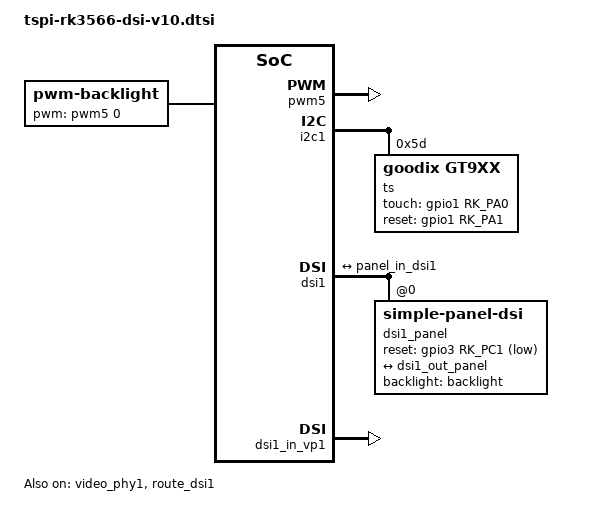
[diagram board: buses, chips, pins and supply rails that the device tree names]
/*********************************************************************
 *           立创开发板不靠卖板赚钱，以培养中国工程师为己任  
 *         泰山派软硬件资料与相关扩展板软硬件资料官网全部开源
 *                      开发板官网：www.lckfb.com            
 *                     立创论坛：oshwhub.com/forum           
 *            关注B站：【立创开发板】，掌握我们的最新动态！  
 *********************************************************************
 * 文件名：tspi-rk3566-dsi-v10.dtsi
 * 描述：mipi 屏幕
 * 更新:
 * 时间          作者           联系           说明
 * 2023-07-21   吴才成    1378913492@qq.com   v1.0.0
 * 2024-01-18   风漠兮    578118086@qq.com    Fit STL6.0-1-2-A
 * 2024-02-25   Shin404   1183024117@qq.com   Fix time sequence & color
 *********************************************************************/
/ {
	backlight: backlight {
		compatible = "pwm-backlight";
		pwms = <&pwm5 0 25000 0>;
		brightness-levels = <
			  0 20 20 20 20 20 20 20
			  21 21 21 21 21 21 21 21
			  22 22 22 22 22 22 22 22
			  23 23 23 23 23 23 23 23
			  24 24 24 24 24 24 24 24
			  25 25 25 25 25 25 25 25
			  26 26 26 26 26 26 26 26
			  27 27 27 27 27 27 27 27
			  28 28 28 28 28 28 28 28
			  29 29 29 29 29 29 29 29
			  30 30 30 30 30 30 30 30
			  31 31 31 31 31 31 31 31
			  32 32 32 32 32 32 32 32
			  33 33 33 33 33 33 33 33
			  34 34 34 34 34 34 34 34
			  35 35 35 35 35 35 35 35
			  36 36 36 36 36 36 36 36
			  37 37 37 37 37 37 37 37
			  38 38 38 38 38 38 38 38
			  39 39 39 39 39 39 39 39
			  40 40 40 40 40 40 40 40
			  41 41 41 41 41 41 41 41
			  42 42 42 42 42 42 42 42
			  43 43 43 43 43 43 43 43
			  44 44 44 44 44 44 44 44
			  45 45 45 45 45 45 45 45
			  46 46 46 46 46 46 46 46
			  47 47 47 47 47 47 47 47
			  48 48 48 48 48 48 48 48
			  49 49 49 49 49 49 49 49
			  50 50 50 50 50 50 50 50
			  51 51 51 51 51 51 51 51
			  256
		>;
		default-brightness-level = <192>;
	};
};

&pwm5 {
	status = "okay";
};

&i2c1 {
	status = "okay";
	ts@5d {
		pinctrl-0 = <&touch_gpio>;
		compatible = "goodix,gt9xx";
		reg = <0x5d>;
		tp-size = <911>;
		max-x = <720>;
		max-y = <1280>;
		touch-gpio = <&gpio1 RK_PA0 IRQ_TYPE_LEVEL_LOW>;
		reset-gpio = <&gpio1 RK_PA1 GPIO_ACTIVE_HIGH>;
	};
};

&pinctrl {
	dsi1 {
		dsi1_rst_gpio: dsi1-rst-gpio {
			rockchip,pins = <3 RK_PC1 RK_FUNC_GPIO &pcfg_pull_none>;
		};
		touch_gpio: touch-gpio {
			rockchip,pins = <1 RK_PA0 RK_FUNC_GPIO &pcfg_pull_up>;
		};
	};
};

/*
 * video_phy1 needs to be enabled
 * when dsi1 is enabled
 */
&dsi1 {
	status = "okay";
};

&dsi1_in_vp0 {
	status = "disabled";
};

&dsi1_in_vp1 {
	status = "okay";
};

&video_phy1 {
	status = "okay";
};

&route_dsi1 {
	status = "okay";//wucaicheng mipi okay
	connect = <&vp1_out_dsi1>;
};

// STL6.0-1-2-A
&dsi1 {
	status = "okay";
	rockchip,lane-rate = <580>; //(720+8+8+16)*(1280+8+8+16)*60*3*8/3,+100mhz
	dsi1_panel: panel@0 {
		status = "okay";
		compatible = "simple-panel-dsi";
		reset-gpios = <&gpio3 RK_PC1 GPIO_ACTIVE_LOW>;
		pinctrl-names = "default";
		pinctrl-0 = <&dsi1_rst_gpio>;
		reg = <0>;
		backlight = <&backlight>;
		reset-delay-ms = <200>;
		enable-delay-ms = <100>;
		prepare-delay-ms = <20>;
		unprepare-delay-ms = <20>;
		disable-delay-ms = <20>;
		init-delay-ms = <120>;
		dsi,flags = <(MIPI_DSI_MODE_VIDEO | MIPI_DSI_MODE_VIDEO_BURST |
			MIPI_DSI_MODE_LPM | MIPI_DSI_MODE_EOT_PACKET)>;
		dsi,format = <MIPI_DSI_FMT_RGB888>;
		dsi,lanes  = <3>;
		width-mm = <74>;
		height-mm = <132>;
		panel-init-sequence = [
			// init code
			// Set EXTC
			39 00 04 B9 FF 83 94
			// Set MIPI
			39 00 03 BA 72 83
			// Set Power HX5186 Mode
			39 00 10 B1 6C 15 15 24 E4 11 F1 80 E4 97 23 80 C0 D2 58
			// Set Display
			39 00 0C B2 00 64 10 07 22 1C 08 08 1C 4D 00
			// Set CYC
			39 00 0D B4 00 FF 03 5A 03 5A 03 5A 01 6A 30 6A
			// Set VDC
			15 00 02 BC 07
			// Set Power ption HX5186 Mode
			39 00 04 BF 41 0E 01
			// Set D3
			39 00 1F D3 00 06 00 40 07 08 00 32 10 07 00 07 54 15 0F 05 04 02 12 10 05 07 33 33 0B 0B 37 10 07 07
			// Set GIP,Forward
			39 00 2D D5 04 05 06 07 00 01 02 03 20 21 22 23 18 18 18 18 18 18 18 18 19 19 18 18 18 18 1B 1B 1A 1A 18 18 18 18 18 18 18 18 18 18 18 18 18 18
			// Set D6,Backward
			39 00 2D D6 03 02 01 00 07 06 05 04 23 22 21 20 18 18 18 18 18 18 58 58 18 18 19 19 18 18 1B 1B 1A 1A 18 18 18 18 18 18 18 18 18 18 18 18 18 18
			// Set Panel
			15 00 02 CC 09 // 08: invert RGB
			// Set VCOM
			39 00 03 B6 51 51
			// Set Gamma
			39 00 2B E0 00 10 16 2D 33 3F 23 3E 07 0B 0D 17 0E 12 14 12 13 06 11 13 18 00 0F 16 2E 33 3F 23 3D 07 0B 0D 18 0F 12 14 12 14 07 11 12 17
			// Set C0
			39 00 03 C0 30 14
			// Set TCON ption
			39 00 05 C7 00 C0 40 C0
			// Set SAP_L ption
			15 00 02 DF 87
			// Set SETOFFSET
			15 00 02 D2 66 
			// 
			15 78 02 11 00
			15 28 02 29 00
		];

		panel-exit-sequence = [
			//05 00 01 28
			//05 00 01 10
		];

		disp_timings1: display-timings {
			native-mode = <&dsi1_timing0>;
			dsi1_timing0: timing0 {
				clock-frequency = <59197440>;// (720+8+8+16)*(1280+8+8+16)*60

				hactive = <720>;
				hfront-porch = <8>;
				hback-porch = <8>;
				hsync-len = <16>;

				vactive = <1280>;
				vfront-porch = <8>;
				vback-porch = <8>;
				vsync-len = <16>;

				hsync-active = <0>;
				vsync-active = <0>;
				de-active = <0>;
				pixelclk-active = <0>;

				swap-rb = <0>;
				swap-rg = <0>;
				swap-gb = <0>;
			};
		};

		ports {
			#address-cells = <1>;
			#size-cells = <0>;

			port@0 {
				reg = <0>;
				panel_in_dsi1: endpoint {
					remote-endpoint = <&dsi1_out_panel>;
				};
			};
		};
	};

	ports {
		#address-cells = <1>;
		#size-cells = <0>;

		port@1 {
			reg = <1>;
			dsi1_out_panel: endpoint {
				remote-endpoint = <&panel_in_dsi1>;
			};
		};
	};

};

// &dsi1 {
// 	status = "okay";
// 	rockchip,lane-rate = <1000>;
// 	dsi1_panel: panel@0 {
// 		status = "okay";
// 		compatible = "simple-panel-dsi";
// 		reset-gpios = <&gpio3 RK_PC1 GPIO_ACTIVE_LOW>;
// 		pinctrl-names = "default";
// 		pinctrl-0 = <&dsi1_rst_gpio>;
// 		reg = <0>;
// 		backlight = <&backlight>;
// 		reset-delay-ms = <100>;
// 		enable-delay-ms = <120>;
// 		prepare-delay-ms = <20>;
// 		unprepare-delay-ms = <20>;
// 		disable-delay-ms = <100>;
// 		dsi,flags = <(MIPI_DSI_MODE_VIDEO | MIPI_DSI_MODE_VIDEO_BURST |
// 			MIPI_DSI_MODE_LPM | MIPI_DSI_MODE_EOT_PACKET)>;
// 		dsi,format = <MIPI_DSI_FMT_RGB888>;
// 		dsi,lanes  = <4>;
// 		panel-init-sequence = [
// 			15 00 02 B0 01
// 			15 00 02 C3 4F
// 			15 00 02 C4 40
// 			15 00 02 C5 40
// 			15 00 02 C6 40
// 			15 00 02 C7 40
// 			15 00 02 C8 4D
// 			15 00 02 C9 52
// 			15 00 02 CA 51
// 			15 00 02 CD 5D
// 			15 00 02 CE 5B
// 			15 00 02 CF 4B
// 			15 00 02 D0 49
// 			15 00 02 D1 47
// 			15 00 02 D2 45
// 			15 00 02 D3 41
// 			15 00 02 D7 50
// 			15 00 02 D8 40
// 			15 00 02 D9 40
// 			15 00 02 DA 40
// 			15 00 02 DB 40
// 			15 00 02 DC 4E
// 			15 00 02 DD 52
// 			15 00 02 DE 51
// 			15 00 02 E1 5E
// 			15 00 02 E2 5C
// 			15 00 02 E3 4C
// 			15 00 02 E4 4A
// 			15 00 02 E5 48
// 			15 00 02 E6 46
// 			15 00 02 E7 42
// 			15 00 02 B0 03
// 			15 00 02 BE 03
// 			15 00 02 CC 44
// 			15 00 02 C8 07
// 			15 00 02 C9 05
// 			15 00 02 CA 42
// 			15 00 02 CD 3E
// 			15 00 02 CF 60
// 			15 00 02 D2 04
// 			15 00 02 D3 04
// 			15 00 02 D4 01
// 			15 00 02 D5 00
// 			15 00 02 D6 03
// 			15 00 02 D7 04
// 			15 00 02 D9 01
// 			15 00 02 DB 01
// 			15 00 02 E4 F0
// 			15 00 02 E5 0A
// 			15 00 02 B0 00
// 			15 00 02 B1 08
// 			15 00 02 BD 54
// 			15 00 02 C2 06
// 			15 00 02 C4 0B
// 			15 00 02 B0 02
// 			15 00 02 C0 00
// 			15 00 02 C1 0A
// 			15 00 02 C2 20
// 			15 00 02 C3 24
// 			15 00 02 C4 23
// 			15 00 02 C5 29
// 			15 00 02 C6 23
// 			15 00 02 C7 1C
// 			15 00 02 C8 19
// 			15 00 02 C9 17
// 			15 00 02 CA 17
// 			15 00 02 CB 18
// 			15 00 02 CC 1A
// 			15 00 02 CD 1E
// 			15 00 02 CE 20
// 			15 00 02 CF 23
// 			15 00 02 D0 07
// 			15 00 02 D1 00
// 			15 00 02 D2 00
// 			15 00 02 D3 0A
// 			15 00 02 D4 13
// 			15 00 02 D5 1C
// 			15 00 02 D6 1A
// 			15 00 02 D7 13
// 			15 00 02 D8 17
// 			15 00 02 D9 1C
// 			15 00 02 DA 19
// 			15 00 02 DB 17
// 			15 00 02 DC 17
// 			15 00 02 DD 18
// 			15 00 02 DE 1A
// 			15 00 02 DF 1E
// 			15 00 02 E0 20
// 			15 00 02 E1 23
// 			15 00 02 E2 07
// 			05 78 01 11
// 			05 14 01 29
// 		];

// 		panel-exit-sequence = [
// 			05 00 01 28
// 			05 00 01 10
// 		];

// 		disp_timings1: display-timings {
// 			native-mode = <&dsi1_timing0>;
// 			dsi1_timing0: timing0 {
// 				clock-frequency = <156000000>;
// 				hactive = <1200 >;
// 				vactive = <1920>;
// 				hfront-porch = <42>;
// 				hsync-len = <10>;
// 				hback-porch = <32>;
// 				vfront-porch = <35>;
// 				vsync-len = <4>;
// 				vback-porch = <30>;
// 				hsync-active = <0>;
// 				vsync-active = <0>;
// 				de-active = <0>;
// 				pixelclk-active = <0>;
// 			};
// 		};

// 		ports {
// 			#address-cells = <1>;
// 			#size-cells = <0>;

// 			port@0 {
// 				reg = <0>;
// 				panel_in_dsi1: endpoint {
// 					remote-endpoint = <&dsi1_out_panel>;
// 				};
// 			};
// 		};
// 	};

// 	ports {
// 		#address-cells = <1>;
// 		#size-cells = <0>;

// 		port@1 {
// 			reg = <1>;
// 			dsi1_out_panel: endpoint {
// 				remote-endpoint = <&panel_in_dsi1>;
// 			};
// 		};
// 	};

// };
